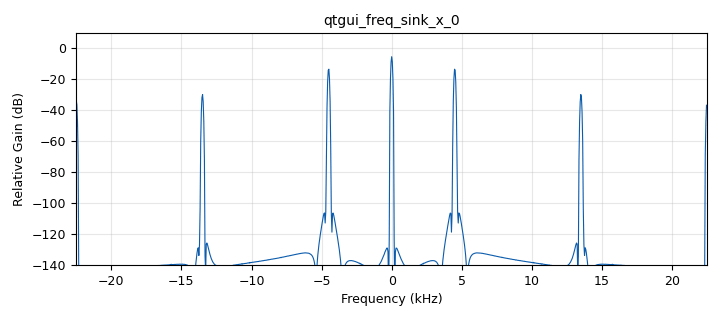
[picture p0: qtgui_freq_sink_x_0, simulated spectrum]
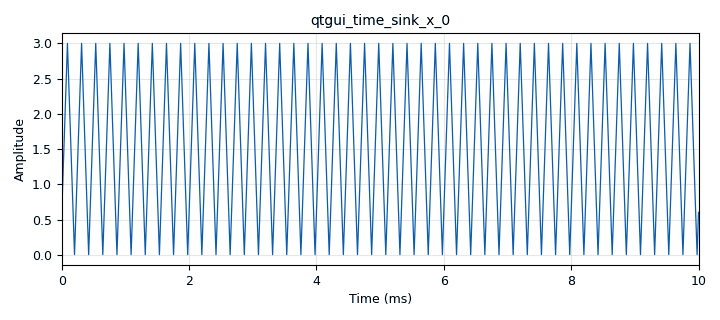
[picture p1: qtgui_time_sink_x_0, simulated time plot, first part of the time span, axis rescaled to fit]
options:
  parameters:
    author: Jose_Barrios_Sergio_Velez_BIC_G4
    generate_options: qt_gui
    id: LAb_comu_1
    output_language: python
    title: Primer Flujograma
  states: {}

blocks:
- name: frequency
  id: variable
  parameters:
    value: '4500'
  states: {}
- name: frequency
  id: variable_qtgui_range
  parameters:
    label: Frequency in Hz
    start: '-16e3'
    step: '100'
    stop: 16e4
    value: '0'
  states: {state: disabled}
- name: samp_rate
  id: variable
  parameters:
    value: '45000'
  states: {}
- name: analog_sig_source_x_0
  id: analog_sig_source_x
  parameters:
    amp: '3'
    freq: frequency
    offset: '0'
    phase: '0'
    samp_rate: samp_rate
    type: float
    waveform: analog.GR_TRI_WAVE
  states: {}
- name: blocks_throttle2_0
  id: blocks_throttle2
  parameters:
    samples_per_second: samp_rate
    type: float
  states: {}
- name: qtgui_freq_sink_x_0
  id: qtgui_freq_sink_x
  parameters:
    bw: samp_rate
    fc: '0'
    fftsize: '1024'
    type: float
  states: {}
- name: qtgui_time_sink_x_0
  id: qtgui_time_sink_x
  parameters:
    size: '1024'
    srate: samp_rate
    type: float
  states: {}

connections:
- [analog_sig_source_x_0, '0', blocks_throttle2_0, '0']
- [blocks_throttle2_0, '0', qtgui_freq_sink_x_0, '0']
- [blocks_throttle2_0, '0', qtgui_time_sink_x_0, '0']

metadata:
  file_format: 1
  grc_version: 3.10.10.0
